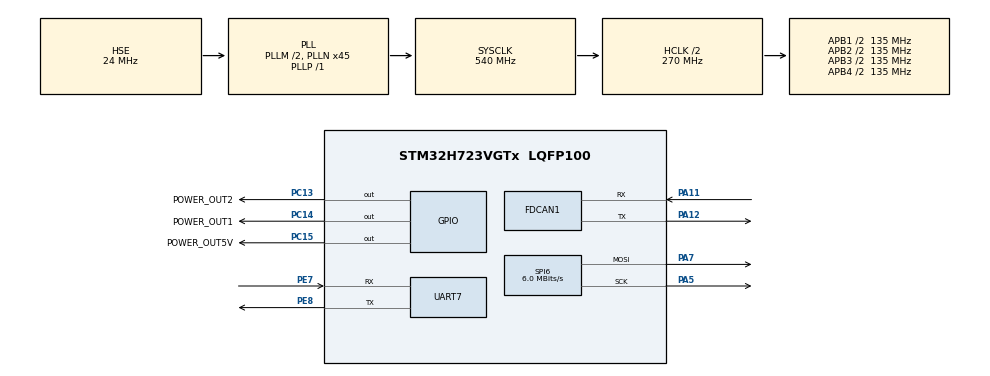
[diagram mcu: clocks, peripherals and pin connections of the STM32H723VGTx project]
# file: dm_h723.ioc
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FDCAN1.CalculateBaudRateNominal=1000000
FDCAN1.CalculateTimeBitNominal=1000
FDCAN1.CalculateTimeQuantumNominal=200.0
FDCAN1.NominalPrescaler=27
FDCAN1.NominalTimeSeg1=2
FDCAN1.RxFifo0ElmtsNbr=32
FDCAN1.StdFiltersNbr=1
FDCAN1.TxFifoQueueElmtsNbr=32
Mcu.Family=STM32H7
Mcu.Name=STM32H723VGTx
Mcu.Package=LQFP100
NVIC.PriorityGroup=NVIC_PRIORITYGROUP_4
PA10.Signal=USART1_RX
PA11.Mode=FDCAN_Activate
PA11.Signal=FDCAN1_RX
PA12.Mode=FDCAN_Activate
PA12.Signal=FDCAN1_TX
PA13(JTMS/SWDIO).Mode=Serial_Wire
PA13(JTMS/SWDIO).Signal=DEBUG_JTMS-SWDIO
PA14(JTCK/SWCLK).Mode=Serial_Wire
PA14(JTCK/SWCLK).Signal=DEBUG_JTCK-SWCLK
PA5.GPIO_Speed=GPIO_SPEED_FREQ_VERY_HIGH
PA5.Mode=TX_Only_Simplex_Unidirect_Master
PA5.Signal=SPI6_SCK
PA7.GPIO_Speed=GPIO_SPEED_FREQ_VERY_HIGH
PA7.Mode=TX_Only_Simplex_Unidirect_Master
PA7.Signal=SPI6_MOSI
PA9.Signal=USART1_TX
PC13.GPIO_Label=POWER_OUT2
PC13.PinState=GPIO_PIN_SET
PC13.Signal=GPIO_Output
PC14-OSC32_IN.GPIO_Label=POWER_OUT1
PC14-OSC32_IN.PinState=GPIO_PIN_SET
PC14-OSC32_IN.Signal=GPIO_Output
PC15-OSC32_OUT.GPIO_Label=POWER_OUT5V
PC15-OSC32_OUT.PinState=GPIO_PIN_SET
PC15-OSC32_OUT.Signal=GPIO_Output
PE7.Mode=Asynchronous
PE7.Signal=UART7_RX
PE8.Mode=Asynchronous
PE8.Signal=UART7_TX
PH0-OSC_IN.Mode=HSE-External-Oscillator
PH0-OSC_IN.Signal=RCC_OSC_IN
PH1-OSC_OUT.Mode=HSE-External-Oscillator
PH1-OSC_OUT.Signal=RCC_OSC_OUT
ProjectManager.HeapSize=0x200
ProjectManager.StackSize=0x800
ProjectManager.TargetToolchain=Makefile
RCC.ADCFreq_Value=48375000
RCC.APB1Freq_Value=135000000
RCC.APB2Freq_Value=135000000
RCC.APB3Freq_Value=135000000
RCC.APB4Freq_Value=135000000
RCC.CortexFreq_Value=540000000
RCC.D1PPRE=RCC_APB3_DIV2
RCC.D2PPRE1=RCC_APB1_DIV2
RCC.D2PPRE2=RCC_APB2_DIV2
RCC.D3PPRE=RCC_APB4_DIV2
RCC.DIVM1=2
RCC.DIVN1=45
RCC.DIVP1=1
RCC.DIVQ1=4
RCC.HCLKFreq_Value=270000000
RCC.HPRE=RCC_HCLK_DIV2
RCC.HSE_VALUE=24000000
RCC.PLL2FRACN=0
RCC.PLL3FRACN=0
RCC.PLLFRACN=0
RCC.PLLSourceVirtual=RCC_PLLSOURCE_HSE
RCC.RCC_TIM_PRescaler_Selection=RCC_TIMPRES_DESACTIVATED
RCC.SPI6CLockSelection=RCC_SPI6CLKSOURCE_HSE
RCC.SYSCLKFreq_VALUE=540000000
RCC.SYSCLKSource=RCC_SYSCLKSOURCE_PLLCLK
RCC.USBFreq_Value=135000000
SPI6.BaudRatePrescaler=SPI_BAUDRATEPRESCALER_4
SPI6.CLKPhase=SPI_PHASE_2EDGE
SPI6.CLKPolarity=SPI_POLARITY_LOW
SPI6.CalculateBaudRate=6.0 MBits/s
SPI6.DataSize=SPI_DATASIZE_8BIT
SPI6.Direction=SPI_DIRECTION_2LINES_TXONLY
SPI6.Mode=SPI_MODE_MASTER
SPI6.VirtualType=VM_MASTER
TIM12.Period=65535
TIM12.Prescaler=540-1
VP_TIM12_VS_ClockSourceINT.Mode=Internal
board=custom

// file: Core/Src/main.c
/* USER CODE BEGIN Header */
/**
  ******************************************************************************
  * @file           : main.c
  * @brief          : Main program body
  ******************************************************************************
  * @attention
  *
  * Copyright (c) 2024 STMicroelectronics.
  * All rights reserved.
  *
  * This software is licensed under terms that can be found in the LICENSE file
  * in the root directory of this software component.
  * If no LICENSE file comes with this software, it is provided AS-IS.
  *
  ******************************************************************************
  */
/* USER CODE END Header */
#include "main.h"
#include "fdcan.h"
#include "memorymap.h"
#include "spi.h"
#include "tim.h"
#include "usart.h"
#include "gpio.h"

/* USER CODE BEGIN Includes */
#include "ws2812.h"
#include "vofa.h"
#include "tim_delay_us.h"
#include "wtr_can.h"
#include "DJI.h"
#include "pid_param_setting.h"
#include "pid.h"

/* USER CODE END Includes */

void SystemClock_Config(void);

/* USER CODE BEGIN 0 */
double lambda =2;

/* USER CODE END 0 */
//328,16 387,13
int main(void)
{

  /* USER CODE BEGIN 1 */

    PID_AutoSetting_Buffers_t pas;
    PID_TypeDef speedpid;
    PID_TypeDef pospid;
  /* USER CODE END 1 */

  /* MCU Configuration--------------------------------------------------------*/

  /* Reset of all peripherals, Initializes the Flash interface and the Systick. */
  HAL_Init();

  /* Configure the system clock */
  SystemClock_Config();

  /* Initialize all configured peripherals */
  MX_GPIO_Init();
  MX_SPI6_Init();
  MX_UART7_Init();
  MX_FDCAN1_Init();
  MX_TIM12_Init();
  /* USER CODE BEGIN 2 */
    WS2812_Ctrl(10,0,0);
    HAL_Delay(800);
    WS2812_Ctrl(0,10,0);
    FDCAN1_RX_Filter_Init();
    FDCAN1_Interrupt_Init();
    FDCAN1_Start();
    hDJI[0].motorType = M2006;
    DJI_Init();
    TIM_Delay_init(&htim12);

    PID_Init(&speedpid,336,14,0);//速度环pid参数已知
    PID_Set_output_limit(&speedpid,-10000,10000);
    PID_Set_integral_limit(&speedpid,500);
    PID_Init_NoParams(&pospid);
    PID_Set_output_limit(&pospid,-550,550);
    PID_Set_integral_limit(&pospid,100);
    PID_Set_deadband(&pospid,1);
    PID_AutoSetting_Init(&pas,TYPE_INTEGRAL,5,0,200,1,0.01,500);
    HAL_Delay(800);
    speedpid.setpoint = 500;
    while(PID_AutoSetting_Update(&pas,hDJI[0].AxisData.AxisAngle_inDegree) == PID_AUTOSETTING_PROCESS)
    {
        // TIM_Delay_Us_Start();
        PID_update(&speedpid,hDJI[0].AxisData.AxisVelocity);
        CanTransmit_DJI_1234(speedpid.output,1000,1000,1000);
        TIM_Delay_Us(1000);
        // TIM_Delay_Us_Until(1000);
    }
    for(int i = 0;i<2000;i++)
    {
        CanTransmit_DJI_1234(0,0,0,0);
        if(i<pas.pv_num){
        vofa_send_data(0, pas.test_output);
        vofa_send_data(1, pas.pv[i]);
        vofa_sendframetail();
        }
        else
        {
            vofa_send_data(0, 0);
            vofa_send_data(1, 0);
            vofa_sendframetail();
        }
        TIM_Delay_Us(1000);
    }
    // PID_AutoSetting_Set(&pas,&pospid);
    PID_Reset(&speedpid,200,10,0);
    PID_AutoSetting_Set_Param(&pas,&pospid.kp,&pospid.ki,&pospid.kd);
    /**
     * kp=2.06,ki=0.0105,t=260ms
     */

    pospid.setpoint = 180*2+hDJI[0].AxisData.AxisAngle_inDegree;
    for(int t = 0;t<1500;t++)
    {
        TIM_Delay_Us_Start();
        PID_update(&pospid,hDJI[0].AxisData.AxisAngle_inDegree);
        speedpid.setpoint = pospid.output;
        PID_update(&speedpid,hDJI[0].AxisData.AxisVelocity);
        CanTransmit_DJI_1234(speedpid.output,0,0,0);
        vofa_send_data(0, pospid.setpoint);
        vofa_send_data(1, hDJI[0].AxisData.AxisAngle_inDegree);
        vofa_send_data(2, pospid.output);
        vofa_send_data(3, pospid.integral);
        vofa_send_data(4, pospid.kp);
        vofa_send_data(5, pospid.ki);
        vofa_sendframetail();
        TIM_Delay_Us_Until(1000);
    }
  /* USER CODE END 2 */

  /* Infinite loop */
  while (1)
  {

    /* USER CODE BEGIN 3 */
    //   vofa_start();
    CanTransmit_DJI_1234(0,0,0,0);
    WS2812_Ctrl(0,10,0);
    HAL_Delay(5);

  }
  /* USER CODE END 3 */
}

void SystemClock_Config(void)
{
  RCC_OscInitTypeDef RCC_OscInitStruct = {0};
  RCC_ClkInitTypeDef RCC_ClkInitStruct = {0};

  /** Supply configuration update enable
  */
  HAL_PWREx_ConfigSupply(PWR_LDO_SUPPLY);

  /** Configure the main internal regulator output voltage
  */
  __HAL_PWR_VOLTAGESCALING_CONFIG(PWR_REGULATOR_VOLTAGE_SCALE0);

  while(!__HAL_PWR_GET_FLAG(PWR_FLAG_VOSRDY)) {}

  /** Initializes the RCC Oscillators according to the specified parameters
  * in the RCC_OscInitTypeDef structure.
  */
  RCC_OscInitStruct.OscillatorType = RCC_OSCILLATORTYPE_HSE;
  RCC_OscInitStruct.HSEState = RCC_HSE_ON;
  RCC_OscInitStruct.PLL.PLLState = RCC_PLL_ON;
  RCC_OscInitStruct.PLL.PLLSource = RCC_PLLSOURCE_HSE;
  RCC_OscInitStruct.PLL.PLLM = 2;
  RCC_OscInitStruct.PLL.PLLN = 45;
  RCC_OscInitStruct.PLL.PLLP = 1;
  RCC_OscInitStruct.PLL.PLLQ = 4;
  RCC_OscInitStruct.PLL.PLLR = 2;
  RCC_OscInitStruct.PLL.PLLRGE = RCC_PLL1VCIRANGE_3;
  RCC_OscInitStruct.PLL.PLLVCOSEL = RCC_PLL1VCOWIDE;
  RCC_OscInitStruct.PLL.PLLFRACN = 0;
  if (HAL_RCC_OscConfig(&RCC_OscInitStruct) != HAL_OK)
  {
    Error_Handler();
  }

  /** Initializes the CPU, AHB and APB buses clocks
  */
  RCC_ClkInitStruct.ClockType = RCC_CLOCKTYPE_HCLK|RCC_CLOCKTYPE_SYSCLK
                              |RCC_CLOCKTYPE_PCLK1|RCC_CLOCKTYPE_PCLK2
                              |RCC_CLOCKTYPE_D3PCLK1|RCC_CLOCKTYPE_D1PCLK1;
  RCC_ClkInitStruct.SYSCLKSource = RCC_SYSCLKSOURCE_PLLCLK;
  RCC_ClkInitStruct.SYSCLKDivider = RCC_SYSCLK_DIV1;
  RCC_ClkInitStruct.AHBCLKDivider = RCC_HCLK_DIV2;
  RCC_ClkInitStruct.APB3CLKDivider = RCC_APB3_DIV2;
  RCC_ClkInitStruct.APB1CLKDivider = RCC_APB1_DIV2;
  RCC_ClkInitStruct.APB2CLKDivider = RCC_APB2_DIV2;
  RCC_ClkInitStruct.APB4CLKDivider = RCC_APB4_DIV2;

  if (HAL_RCC_ClockConfig(&RCC_ClkInitStruct, FLASH_LATENCY_3) != HAL_OK)
  {
    Error_Handler();
  }
}

void Error_Handler(void)
{
  __disable_irq();
  while (1)
  {
  }
}
